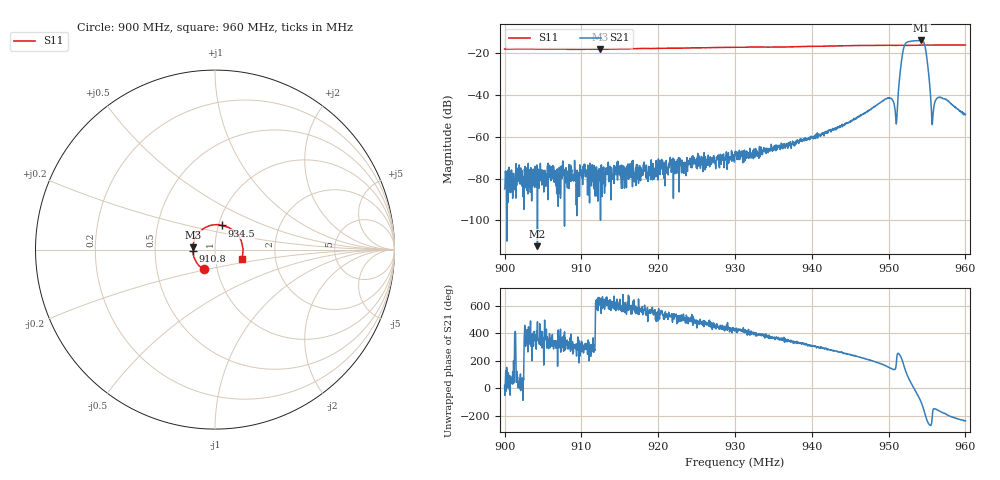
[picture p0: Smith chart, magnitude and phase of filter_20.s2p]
!Agilent Technologies,E5071C,MY46214392,A.11.36
!Date: Thu Feb 26 21:54:56 2026
!Data & Calibration Information:
!Freq	S11:NONE(--)	S21:NONE(--)	S12:NONE(--)	S22:NONE(--)
!PortZ  Port1:50+j0  Port2:50+j0
!Above PortZ is port z conversion or system Z0 setting when saving the data.
!When reading, reference impedance value at option line is always used.
# Hz S dB R 50
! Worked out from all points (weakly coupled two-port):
!   1601 points, 900 MHz to 960 MHz, reference 50 ohm
!   highest |S21| = -13.93 dB at 954.3 MHz (marker M1); lowest = -112.4 dB at 904.3 MHz (marker M2)
!   lowest |S11| = -18.2 dB at 912.4 MHz (marker M3), VSWR 1.28, Z = 39.1 + j0.948 ohm
!   |S11| at or under -10 dB: start of sweep to end of sweep
!   S12 and S22 are empty: the file has one direction only
!   S11 on the Smith chart (normalised r, x): 900 MHz: 0.86, -0.19; 910.8 MHz: 0.78, -0.01; 934.5 MHz: 1.04, +0.28; 960 MHz: 1.34, -0.14
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9e8  -18.03 -119.7  -85.02 19.6  -200.00 0.0  -200.00 0.0
9.04275e8  -18.04 -143.1  -112.38 122.6  -200.00 0.0  -200.00 0.0
9.100125e8  -18.17 -173.5  -78.94 -18.7  -200.00 0.0  -200.00 0.0
9.107625e8  -18.13 -177.2  -75.71 -72.0  -200.00 0.0  -200.00 0.0
9.124125e8  -18.19 174.4  -80.43 -83.6  -200.00 0.0  -200.00 0.0
9.187125e8  -17.79 143.0  -76.36 -155.6  -200.00 0.0  -200.00 0.0
9.20025e8  -17.75 137.2  -70.60 -177.7  -200.00 0.0  -200.00 0.0
9.23325e8  -17.60 122.0  -77.54 150.5  -200.00 0.0  -200.00 0.0
9.3e8  -17.20 92.9  -67.28 53.7  -200.00 0.0  -200.00 0.0
9.345375e8  -17.12 74.8  -65.69 0.6  -200.00 0.0  -200.00 0.0
9.400125e8  -16.76 55.0  -60.07 -54.7  -200.00 0.0  -200.00 0.0
9.50025e8  -16.21 18.0  -41.46 151.1  -200.00 0.0  -200.00 0.0
9.51e8  -16.28 14.6  -53.89 177.6  -200.00 0.0  -200.00 0.0
9.517125e8  -16.23 11.9  -22.90 -147.8  -200.00 0.0  -200.00 0.0
9.522e8  -16.31 10.1  -15.41 127.9  -200.00 0.0  -200.00 0.0
9.532875e8  -16.25 6.8  -14.13 1.0  -200.00 0.0  -200.00 0.0
9.542625e8  -16.18 3.4  -13.93 -104.4  -200.00 0.0  -200.00 0.0
9.548625e8  -16.15 0.8  -19.13 148.8  -200.00 0.0  -200.00 0.0
9.555e8  -16.16 -1.5  -42.53 90.7  -200.00 0.0  -200.00 0.0
9.557625e8  -16.16 -2.4  -50.52 -162.4  -200.00 0.0  -200.00 0.0
9.567375e8  -16.11 -6.0  -41.13 -169.3  -200.00 0.0  -200.00 0.0
9.6e8  -16.12 -18.9  -49.34 123.0  -200.00 0.0  -200.00 0.0
